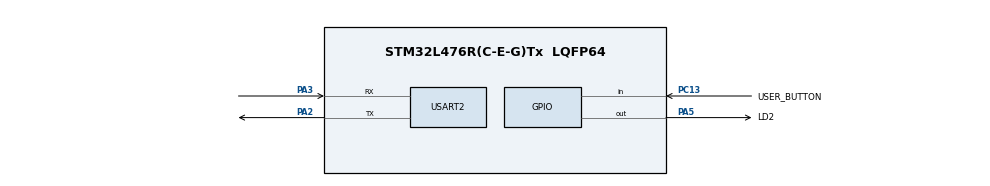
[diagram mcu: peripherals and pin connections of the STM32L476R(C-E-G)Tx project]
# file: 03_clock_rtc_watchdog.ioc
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Mcu.Family=STM32L4
Mcu.Name=STM32L476R(C-E-G)Tx
Mcu.Package=LQFP64
NVIC.PriorityGroup=NVIC_PRIORITYGROUP_4
PA13\ (JTMS-SWDIO).Mode=Serial_Wire
PA13\ (JTMS-SWDIO).Signal=SYS_JTMS-SWDIO
PA14\ (JTCK-SWCLK).Mode=Serial_Wire
PA14\ (JTCK-SWCLK).Signal=SYS_JTCK-SWCLK
PA2.Mode=Asynchronous
PA2.Signal=USART2_TX
PA3.Mode=Asynchronous
PA3.Signal=USART2_RX
PA5.GPIO_Label=LD2
PA5.Signal=GPIO_Output
PC13.GPIO_Label=USER_BUTTON
PC13.Signal=GPIO_Input
PC14-OSC32_IN\ (PC14).Mode=LSE-External-Oscillator
PC14-OSC32_IN\ (PC14).Signal=RCC_OSC32_IN
PC15-OSC32_OUT\ (PC15).Mode=LSE-External-Oscillator
PC15-OSC32_OUT\ (PC15).Signal=RCC_OSC32_OUT
ProjectManager.HeapSize=0x200
ProjectManager.StackSize=0x400
ProjectManager.TargetToolchain=STM32CubeIDE
RCC.HSE_VALUE=8000000
RCC.HSI_VALUE=16000000
RCC.MSI_VALUE=4000000
RCC.VCOOutputFreq_Value=32000000
USART2.VirtualMode-Asynchronous=VM_ASYNC
VP_RTC_VS_RTC_Activate.Mode=RTC_Enabled
board=custom

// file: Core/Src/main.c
/* USER CODE BEGIN Header */
/**
  ******************************************************************************
  * @file           : main.c
  * @brief          : Main program body
  ******************************************************************************
  * @attention
  *
  * Copyright (c) 2026 STMicroelectronics.
  * All rights reserved.
  *
  * This software is licensed under terms that can be found in the LICENSE file
  * in the root directory of this software component.
  * If no LICENSE file comes with this software, it is provided AS-IS.
  *
  ******************************************************************************
  */
/* USER CODE END Header */
#include "main.h"

RTC_HandleTypeDef hrtc;

UART_HandleTypeDef huart2;

IWDG_HandleTypeDef hiwdg;

void SystemClock_Config(void);
static void MX_GPIO_Init(void);
static void MX_RTC_Init(void);
static void MX_USART2_UART_Init(void);
static void MX_IWDG_Init(void);

/* USER CODE BEGIN 0 */

int __io_putchar(int ch){
	uint8_t c = (uint8_t) ch;
	if(ch == '\n') {
		uint8_t ch2 = '\r';
		HAL_UART_Transmit(&huart2, &ch2, 1, HAL_MAX_DELAY);
	}
	HAL_UART_Transmit(&huart2, &c, 1, HAL_MAX_DELAY);
	return 1;
}

bool is_button_pressed(void){
	if(HAL_GPIO_ReadPin(USER_BUTTON_GPIO_Port, USER_BUTTON_Pin) == GPIO_PIN_RESET){
		return true;
	} else {
		return false;
	}
}

/* USER CODE END 0 */

int main(void)
{

  /* MCU Configuration--------------------------------------------------------*/

  /* Reset of all peripherals, Initializes the Flash interface and the Systick. */
  HAL_Init();

  /* Configure the system clock */
  SystemClock_Config();

  /* Initialize all configured peripherals */
  MX_GPIO_Init();
  MX_RTC_Init();
  MX_USART2_UART_Init();
  /* USER CODE BEGIN 2 */
  RTC_DateTypeDef date_init = {0};

  date_init.Year = 26;
  date_init.Month = 5;
  date_init.Date = 12;
  date_init.WeekDay = RTC_WEEKDAY_TUESDAY;

  HAL_RTC_SetDate(&hrtc, &date_init, RTC_FORMAT_BIN);

  uint32_t last_ms = HAL_GetTick();

  MX_IWDG_Init();
  /* USER CODE END 2 */

  /* Infinite loop */
  while (1)
  {

    /* USER CODE BEGIN 3 */
	RTC_TimeTypeDef time;
	RTC_DateTypeDef date;

	if(is_button_pressed()){
		RTC_TimeTypeDef new_time = {0};

		while(is_button_pressed()){

		}
		new_time.Hours = 14;
		new_time.Minutes = 55;
		new_time.Seconds = 00;
		HAL_RTC_SetTime(&hrtc, &new_time, RTC_FORMAT_BIN);
	}

	HAL_RTC_GetTime(&hrtc, &time, RTC_FORMAT_BIN);
	HAL_RTC_GetDate(&hrtc, &date, RTC_FORMAT_BIN);

	printf("Actual time: 20%02d-%02d-%02d, %02d:%02d:%02d\n", date.Year, date.Month, date.Date, time.Hours, time.Minutes, time.Seconds);
	HAL_Delay(200);

	uint32_t now = HAL_GetTick();
	if(now - last_ms >= 500){
		HAL_GPIO_TogglePin(LD2_GPIO_Port, LD2_Pin);
		last_ms = now;
		HAL_IWDG_Refresh(&hiwdg);
	}
  }
  /* USER CODE END 3 */
}

void SystemClock_Config(void)
{
  RCC_OscInitTypeDef RCC_OscInitStruct = {0};
  RCC_ClkInitTypeDef RCC_ClkInitStruct = {0};

  /** Configure the main internal regulator output voltage
  */
  if (HAL_PWREx_ControlVoltageScaling(PWR_REGULATOR_VOLTAGE_SCALE1) != HAL_OK)
  {
    Error_Handler();
  }

  /** Configure LSE Drive Capability
  */
  HAL_PWR_EnableBkUpAccess();
  __HAL_RCC_LSEDRIVE_CONFIG(RCC_LSEDRIVE_LOW);

  /** Initializes the RCC Oscillators according to the specified parameters
  * in the RCC_OscInitTypeDef structure.
  */
  RCC_OscInitStruct.OscillatorType = RCC_OSCILLATORTYPE_LSI|RCC_OSCILLATORTYPE_LSE
                              |RCC_OSCILLATORTYPE_MSI;
  RCC_OscInitStruct.LSEState = RCC_LSE_ON;
  RCC_OscInitStruct.LSIState = RCC_LSI_ON;
  RCC_OscInitStruct.MSIState = RCC_MSI_ON;
  RCC_OscInitStruct.MSICalibrationValue = 0;
  RCC_OscInitStruct.MSIClockRange = RCC_MSIRANGE_6;
  RCC_OscInitStruct.PLL.PLLState = RCC_PLL_NONE;
  if (HAL_RCC_OscConfig(&RCC_OscInitStruct) != HAL_OK)
  {
    Error_Handler();
  }

  /** Initializes the CPU, AHB and APB buses clocks
  */
  RCC_ClkInitStruct.ClockType = RCC_CLOCKTYPE_HCLK|RCC_CLOCKTYPE_SYSCLK
                              |RCC_CLOCKTYPE_PCLK1|RCC_CLOCKTYPE_PCLK2;
  RCC_ClkInitStruct.SYSCLKSource = RCC_SYSCLKSOURCE_MSI;
  RCC_ClkInitStruct.AHBCLKDivider = RCC_SYSCLK_DIV1;
  RCC_ClkInitStruct.APB1CLKDivider = RCC_HCLK_DIV1;
  RCC_ClkInitStruct.APB2CLKDivider = RCC_HCLK_DIV1;

  if (HAL_RCC_ClockConfig(&RCC_ClkInitStruct, FLASH_LATENCY_0) != HAL_OK)
  {
    Error_Handler();
  }

  /** Enable MSI Auto calibration
  */
  HAL_RCCEx_EnableMSIPLLMode();
}

static void MX_RTC_Init(void)
{

  /** Initialize RTC Only
  */
  hrtc.Instance = RTC;
  hrtc.Init.HourFormat = RTC_HOURFORMAT_24;
  hrtc.Init.AsynchPrediv = 127;
  hrtc.Init.SynchPrediv = 255;
  hrtc.Init.OutPut = RTC_OUTPUT_DISABLE;
  hrtc.Init.OutPutRemap = RTC_OUTPUT_REMAP_NONE;
  hrtc.Init.OutPutPolarity = RTC_OUTPUT_POLARITY_HIGH;
  hrtc.Init.OutPutType = RTC_OUTPUT_TYPE_OPENDRAIN;
  if (HAL_RTC_Init(&hrtc) != HAL_OK)
  {
    Error_Handler();
  }

}

static void MX_USART2_UART_Init(void)
{

  huart2.Instance = USART2;
  huart2.Init.BaudRate = 115200;
  huart2.Init.WordLength = UART_WORDLENGTH_8B;
  huart2.Init.StopBits = UART_STOPBITS_1;
  huart2.Init.Parity = UART_PARITY_NONE;
  huart2.Init.Mode = UART_MODE_TX_RX;
  huart2.Init.HwFlowCtl = UART_HWCONTROL_NONE;
  huart2.Init.OverSampling = UART_OVERSAMPLING_16;
  huart2.Init.OneBitSampling = UART_ONE_BIT_SAMPLE_DISABLE;
  huart2.AdvancedInit.AdvFeatureInit = UART_ADVFEATURE_NO_INIT;
  if (HAL_UART_Init(&huart2) != HAL_OK)
  {
    Error_Handler();
  }

}

static void MX_GPIO_Init(void)
{
  GPIO_InitTypeDef GPIO_InitStruct = {0};

  /* GPIO Ports Clock Enable */
  __HAL_RCC_GPIOC_CLK_ENABLE();
  __HAL_RCC_GPIOA_CLK_ENABLE();

  /*Configure GPIO pin Output Level */
  HAL_GPIO_WritePin(LD2_GPIO_Port, LD2_Pin, GPIO_PIN_RESET);

  /*Configure GPIO pin : USER_BUTTON_Pin */
  GPIO_InitStruct.Pin = USER_BUTTON_Pin;
  GPIO_InitStruct.Mode = GPIO_MODE_INPUT;
  GPIO_InitStruct.Pull = GPIO_NOPULL;
  HAL_GPIO_Init(USER_BUTTON_GPIO_Port, &GPIO_InitStruct);

  /*Configure GPIO pin : LD2_Pin */
  GPIO_InitStruct.Pin = LD2_Pin;
  GPIO_InitStruct.Mode = GPIO_MODE_OUTPUT_PP;
  GPIO_InitStruct.Pull = GPIO_NOPULL;
  GPIO_InitStruct.Speed = GPIO_SPEED_FREQ_LOW;
  HAL_GPIO_Init(LD2_GPIO_Port, &GPIO_InitStruct);

}

/* USER CODE BEGIN 4 */
static void MX_IWDG_Init(void)
{
  hiwdg.Instance = IWDG;

  // 32 kHz / 32 = 1 kHz
  hiwdg.Init.Prescaler = IWDG_PRESCALER_32;
  hiwdg.Init.Reload = 4095;

  if (HAL_IWDG_Init(&hiwdg) != HAL_OK)
  {
    Error_Handler();
  }
}

/* USER CODE END 4 */

void Error_Handler(void)
{
  __disable_irq();
  while (1)
  {
  }
}
